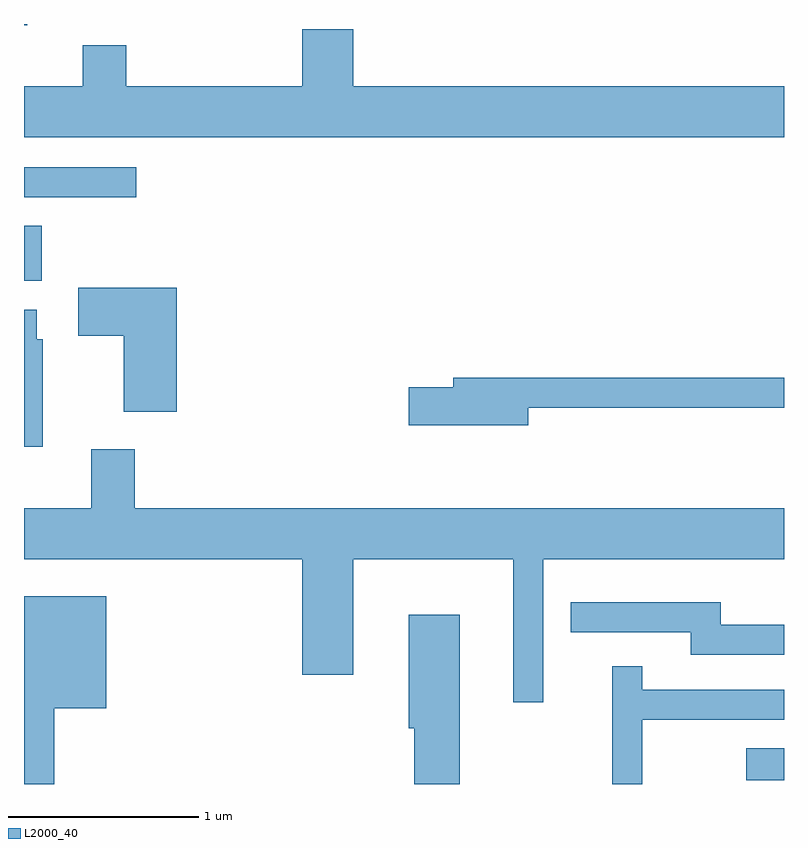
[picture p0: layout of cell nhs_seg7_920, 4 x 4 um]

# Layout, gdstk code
import gdstk
lib = gdstk.Library(unit=1e-6, precision=1e-09)
def R(c, l, rs):  # rectangles x0, y0, x1, y1
    for r in rs: c.add(gdstk.rectangle(r[:2], r[2:], *l))
def P(c, l, *ps):  # polygons
    for p in ps: c.add(gdstk.Polygon(p, *l))
L2000_40 = (2000, 40)

nhs_seg7_920 = lib.new_cell('nhs_seg7_920')
R(nhs_seg7_920, L2000_40, [(217.413,1704.271,217.611,1704.439), (213.611,1706.901,213.704,1707.189), (213.611,1707.341,214.203,1707.499), (213.611,1708.246,213.629,1708.252)])
P(nhs_seg7_920, L2000_40, [(217.611,1707.924),(215.344,1707.924),(215.344,1708.224),(215.076,1708.224),(215.076,1707.924),(214.149,1707.924),(214.149,1708.139),(213.921,1708.139),(213.921,1707.924),(213.611,1707.924),(213.611,1707.656),(217.611,1707.656)],
  [(214.414,1706.864),(213.896,1706.864),(213.896,1706.611),(214.136,1706.611),(214.136,1706.211),(214.414,1706.211)],
  [(213.709,1706.594),(213.679,1706.594),(213.679,1706.749),(213.611,1706.749),(213.611,1706.026),(213.709,1706.026)],
  [(216.264,1706.231),(217.611,1706.231),(217.611,1706.389),(215.871,1706.389),(215.871,1706.339),(215.636,1706.339),(215.636,1706.141),(216.264,1706.141)],
  [(216.344,1705.436),(217.611,1705.436),(217.611,1705.704),(214.194,1705.704),(214.194,1706.014),(213.966,1706.014),(213.966,1705.704),(213.611,1705.704),(213.611,1705.436),(215.076,1705.436),(215.076,1704.826),(215.344,1704.826),(215.344,1705.436),(216.186,1705.436),(216.186,1704.683),(216.344,1704.683)],
  [(213.769,1704.651),(214.044,1704.651),(214.044,1705.239),(213.611,1705.239),(213.611,1704.252),(213.769,1704.252)],
  [(217.611,1705.089),(217.279,1705.089),(217.279,1705.209),(216.488,1705.209),(216.488,1705.051),(217.121,1705.051),(217.121,1704.931),(217.611,1704.931)],
  [(215.904,1705.144),(215.636,1705.144),(215.636,1704.546),(215.666,1704.546),(215.666,1704.252),(215.904,1704.252)],
  [(216.864,1704.591),(217.611,1704.591),(217.611,1704.749),(216.864,1704.749),(216.864,1704.873),(216.706,1704.873),(216.706,1704.252),(216.864,1704.252)])

lib.write_gds('nhs_seg7_920.gds')
